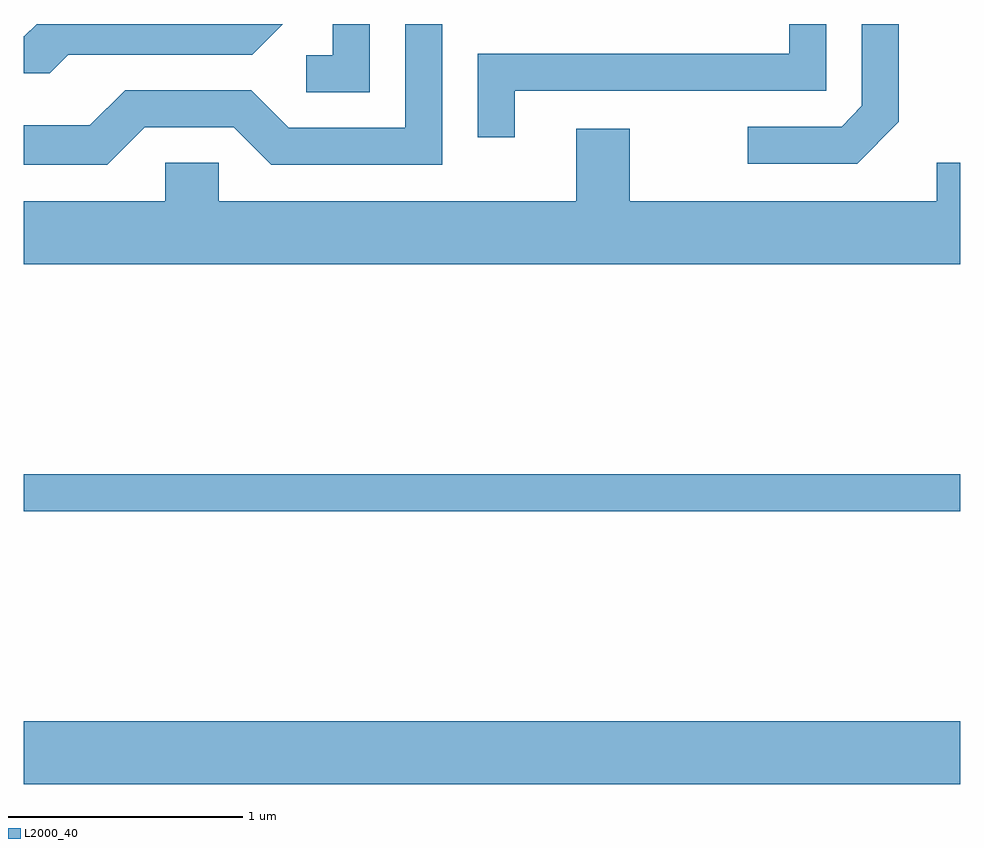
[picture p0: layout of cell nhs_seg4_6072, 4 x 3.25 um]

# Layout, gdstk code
import gdstk
lib = gdstk.Library(unit=1e-6, precision=1e-09)
def R(c, l, rs):  # rectangles x0, y0, x1, y1
    for r in rs: c.add(gdstk.rectangle(r[:2], r[2:], *l))
def P(c, l, *ps):  # polygons
    for p in ps: c.add(gdstk.Polygon(p, *l))
L2000_40 = (2000, 40)

nhs_seg4_6072 = lib.new_cell('nhs_seg4_6072')
R(nhs_seg4_6072, L2000_40, [(363.611,1294.736,367.611,1295.004), (363.611,1295.901,367.611,1296.059)])
P(nhs_seg4_6072, L2000_40, [(365.709,1297.696),(367.039,1297.696),(367.039,1297.982),(366.881,1297.982),(366.881,1297.854),(365.551,1297.854),(365.551,1297.498),(365.709,1297.498)],
  [(364.127,1297.541),(364.509,1297.541),(364.669,1297.381),(365.399,1297.381),(365.399,1297.982),(365.241,1297.982),(365.241,1297.539),(364.742,1297.539),(364.582,1297.699),(364.044,1297.699),(363.894,1297.549),(363.611,1297.549),(363.611,1297.381),(363.967,1297.381)],
  [(367.349,1297.564),(367.349,1297.982),(367.191,1297.982),(367.191,1297.632),(367.104,1297.544),(366.703,1297.544),(366.703,1297.386),(367.172,1297.386)],
  [(363.802,1297.851),(364.587,1297.851),(364.717,1297.982),(363.666,1297.982),(363.614,1297.929),(363.611,1297.929),(363.611,1297.771),(363.722,1297.771)],
  [(365.089,1297.982),(364.931,1297.982),(364.931,1297.849),(364.818,1297.849),(364.818,1297.691),(365.089,1297.691)],
  [(367.611,1297.389),(367.511,1297.389),(367.511,1297.224),(366.199,1297.224),(366.199,1297.534),(365.971,1297.534),(365.971,1297.224),(364.444,1297.224),(364.444,1297.389),(364.216,1297.389),(364.216,1297.224),(363.611,1297.224),(363.611,1296.956),(367.611,1296.956)])

lib.write_gds('nhs_seg4_6072.gds')
